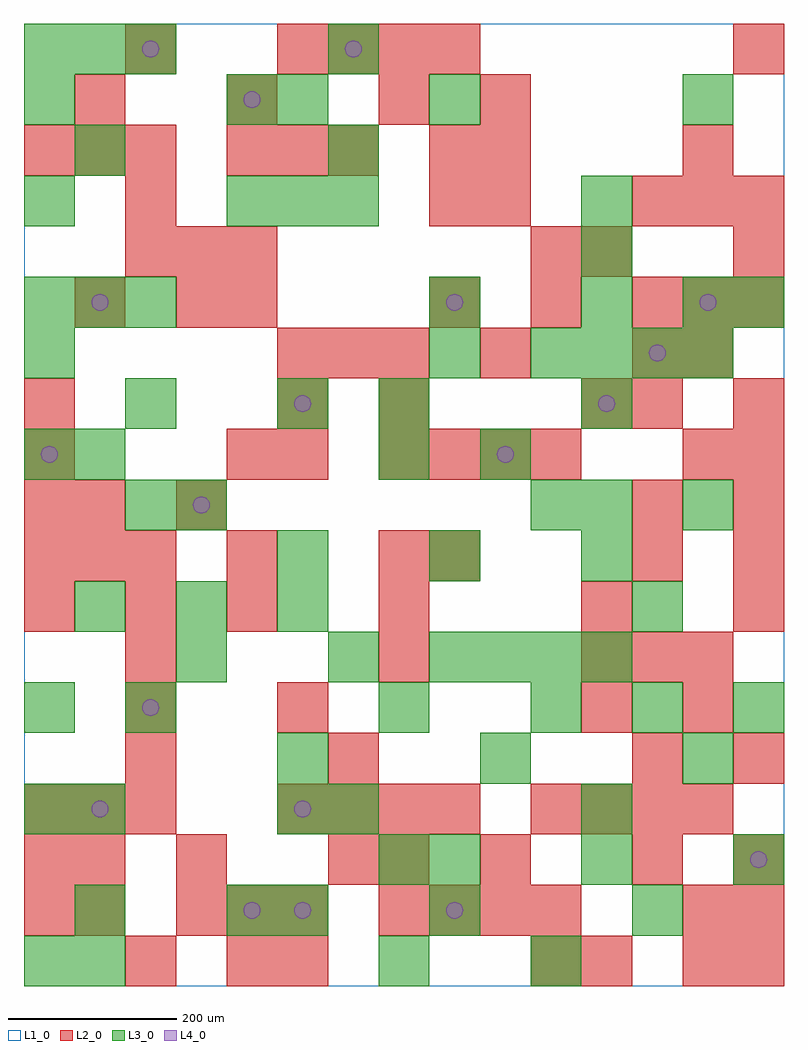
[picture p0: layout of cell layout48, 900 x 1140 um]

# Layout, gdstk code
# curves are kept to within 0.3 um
import gdstk
lib = gdstk.Library(unit=1e-6, precision=1e-09)
def R(c, l, rs):  # rectangles x0, y0, x1, y1
    for r in rs: c.add(gdstk.rectangle(r[:2], r[2:], *l))
def A(c, l, x, y, w, h, nx, ny, dx, dy):  # array of equal rectangles
    R(c, l, [(x+i*dx, y+j*dy, x+i*dx+w, y+j*dy+h) for i in range(nx) for j in range(ny)])
def P(c, l, *ps):  # polygons
    for p in ps: c.add(gdstk.Polygon(p, *l))
L1_0 = (1, 0)
L2_0 = (2, 0)
L3_0 = (3, 0)
L4_0 = (4, 0)

layout48 = lib.new_cell('layout48')
R(layout48, L1_0, [(0,0,900,1140)])
A(layout48, L2_0, 300, 0, 60, 60, 1, 3, 0, 300)
A(layout48, L2_0, 840, 0, 60, 60, 1, 3, 0, 60)
A(layout48, L2_0, 180, 60, 60, 60, 3, 1, 60, 0)
A(layout48, L2_0, 420, 60, 60, 60, 4, 2, 60, 540)
A(layout48, L2_0, 0, 180, 60, 60, 3, 2, 60, 300)
A(layout48, L2_0, 300, 180, 60, 60, 4, 2, 60, 900)
A(layout48, L2_0, 600, 180, 60, 60, 4, 1, 60, 0)
A(layout48, L2_0, 120, 240, 60, 60, 1, 3, 0, 60)
A(layout48, L2_0, 420, 360, 60, 60, 1, 3, 0, 60)
A(layout48, L2_0, 660, 360, 60, 60, 3, 1, 60, 0)
A(layout48, L2_0, 0, 420, 60, 60, 3, 1, 120, 0)
A(layout48, L2_0, 840, 420, 60, 60, 1, 5, 0, 60)
A(layout48, L2_0, 0, 540, 60, 60, 1, 3, 0, 60)
A(layout48, L2_0, 300, 720, 60, 60, 3, 1, 60, 0)
A(layout48, L2_0, 480, 780, 60, 60, 3, 1, 120, 0)
A(layout48, L2_0, 120, 840, 60, 60, 3, 1, 60, 0)
A(layout48, L2_0, 540, 900, 60, 60, 1, 3, 0, 60)
A(layout48, L2_0, 720, 900, 60, 60, 3, 1, 60, 0)
A(layout48, L2_0, 0, 960, 60, 60, 3, 1, 60, 0)
A(layout48, L2_0, 240, 960, 60, 60, 3, 1, 60, 0)
A(layout48, L2_0, 60, 1020, 60, 60, 3, 1, 180, 0)
R(layout48, L2_0, [(120,0,180,60), (240,0,300,60), (600,0,660,60), (660,0,720,60), (780,0,840,60), (0,60,60,120), (60,60,120,120), (780,60,840,120), (0,120,60,180), (60,120,120,180), (180,120,240,180), (360,120,420,180), (420,120,480,180), (540,120,600,180), (720,120,780,180), (360,240,420,300), (720,240,780,300), (840,240,900,300), (660,300,720,360), (780,300,840,360), (660,420,720,480), (240,480,300,540), (480,480,540,540), (720,480,780,540), (60,540,120,600), (180,540,240,600), (720,540,780,600), (240,600,300,660), (780,600,840,660), (300,660,360,720), (420,660,480,720), (660,660,720,720), (720,660,780,720), (540,720,600,780), (720,720,780,780), (780,720,840,780), (60,780,120,840), (180,780,240,840), (240,780,300,840), (780,780,840,840), (840,780,900,840), (600,840,660,900), (660,840,720,900), (840,840,900,900), (120,900,180,960), (480,900,540,960), (480,960,540,1020), (780,960,840,1020), (120,1080,180,1140), (840,1080,900,1140)])
A(layout48, L3_0, 480, 120, 60, 60, 3, 1, 180, 0)
A(layout48, L3_0, 300, 240, 60, 60, 3, 1, 240, 0)
A(layout48, L3_0, 600, 300, 60, 60, 3, 1, 120, 0)
A(layout48, L3_0, 480, 360, 60, 60, 4, 1, 60, 0)
A(layout48, L3_0, 60, 420, 60, 60, 3, 1, 120, 0)
A(layout48, L3_0, 300, 480, 60, 60, 3, 1, 180, 0)
A(layout48, L3_0, 660, 540, 60, 60, 1, 3, 0, 120)
A(layout48, L3_0, 780, 540, 60, 60, 1, 3, 0, 240)
A(layout48, L3_0, 600, 720, 60, 60, 4, 1, 60, 0)
A(layout48, L3_0, 0, 780, 60, 60, 3, 2, 60, 300)
A(layout48, L3_0, 240, 900, 60, 60, 3, 1, 60, 0)
R(layout48, L3_0, [(0,0,60,60), (60,0,120,60), (420,0,480,60), (600,0,660,60), (60,60,120,120), (240,60,300,120), (300,60,360,120), (480,60,540,120), (720,60,780,120), (420,120,480,180), (0,180,60,240), (60,180,120,240), (300,180,360,240), (360,180,420,240), (660,180,720,240), (0,300,60,360), (120,300,180,360), (420,300,480,360), (180,360,240,420), (360,360,420,420), (720,420,780,480), (120,540,180,600), (180,540,240,600), (600,540,660,600), (0,600,60,660), (60,600,120,660), (420,600,480,660), (540,600,600,660), (120,660,180,720), (300,660,360,720), (420,660,480,720), (0,720,60,780), (480,720,540,780), (480,780,540,840), (840,780,900,840), (660,840,720,900), (0,900,60,960), (660,900,720,960), (60,960,120,1020), (360,960,420,1020), (0,1020,60,1080), (240,1020,300,1080), (300,1020,360,1080), (480,1020,540,1080), (360,1080,420,1140)])
P(layout48, L4_0, [(40,630),(39.239,633.827),(37.071,637.071),(33.827,639.239),(30,640),(26.173,639.239),(22.929,637.071),(20.761,633.827),(20,630),(20.761,626.173),(22.929,622.929),(26.173,620.761),(30,620),(33.827,620.761),(37.071,622.929),(39.239,626.173)],
  [(100,210),(99.239,213.827),(97.071,217.071),(93.827,219.239),(90,220),(86.173,219.239),(82.929,217.071),(80.761,213.827),(80,210),(80.761,206.173),(82.929,202.929),(86.173,200.761),(90,200),(93.827,200.761),(97.071,202.929),(99.239,206.173)],
  [(100,810),(99.239,813.827),(97.071,817.071),(93.827,819.239),(90,820),(86.173,819.239),(82.929,817.071),(80.761,813.827),(80,810),(80.761,806.173),(82.929,802.929),(86.173,800.761),(90,800),(93.827,800.761),(97.071,802.929),(99.239,806.173)],
  [(160,330),(159.239,333.827),(157.071,337.071),(153.827,339.239),(150,340),(146.173,339.239),(142.929,337.071),(140.761,333.827),(140,330),(140.761,326.173),(142.929,322.929),(146.173,320.761),(150,320),(153.827,320.761),(157.071,322.929),(159.239,326.173)],
  [(160,1110),(159.239,1113.827),(157.071,1117.071),(153.827,1119.239),(150,1120),(146.173,1119.239),(142.929,1117.071),(140.761,1113.827),(140,1110),(140.761,1106.173),(142.929,1102.929),(146.173,1100.761),(150,1100),(153.827,1100.761),(157.071,1102.929),(159.239,1106.173)],
  [(220,570),(219.239,573.827),(217.071,577.071),(213.827,579.239),(210,580),(206.173,579.239),(202.929,577.071),(200.761,573.827),(200,570),(200.761,566.173),(202.929,562.929),(206.173,560.761),(210,560),(213.827,560.761),(217.071,562.929),(219.239,566.173)],
  [(280,90),(279.239,93.827),(277.071,97.071),(273.827,99.239),(270,100),(266.173,99.239),(262.929,97.071),(260.761,93.827),(260,90),(260.761,86.173),(262.929,82.929),(266.173,80.761),(270,80),(273.827,80.761),(277.071,82.929),(279.239,86.173)],
  [(280,1050),(279.239,1053.827),(277.071,1057.071),(273.827,1059.239),(270,1060),(266.173,1059.239),(262.929,1057.071),(260.761,1053.827),(260,1050),(260.761,1046.173),(262.929,1042.929),(266.173,1040.761),(270,1040),(273.827,1040.761),(277.071,1042.929),(279.239,1046.173)],
  [(340,90),(339.239,93.827),(337.071,97.071),(333.827,99.239),(330,100),(326.173,99.239),(322.929,97.071),(320.761,93.827),(320,90),(320.761,86.173),(322.929,82.929),(326.173,80.761),(330,80),(333.827,80.761),(337.071,82.929),(339.239,86.173)],
  [(340,210),(339.239,213.827),(337.071,217.071),(333.827,219.239),(330,220),(326.173,219.239),(322.929,217.071),(320.761,213.827),(320,210),(320.761,206.173),(322.929,202.929),(326.173,200.761),(330,200),(333.827,200.761),(337.071,202.929),(339.239,206.173)],
  [(340,690),(339.239,693.827),(337.071,697.071),(333.827,699.239),(330,700),(326.173,699.239),(322.929,697.071),(320.761,693.827),(320,690),(320.761,686.173),(322.929,682.929),(326.173,680.761),(330,680),(333.827,680.761),(337.071,682.929),(339.239,686.173)],
  [(400,1110),(399.239,1113.827),(397.071,1117.071),(393.827,1119.239),(390,1120),(386.173,1119.239),(382.929,1117.071),(380.761,1113.827),(380,1110),(380.761,1106.173),(382.929,1102.929),(386.173,1100.761),(390,1100),(393.827,1100.761),(397.071,1102.929),(399.239,1106.173)],
  [(520,90),(519.239,93.827),(517.071,97.071),(513.827,99.239),(510,100),(506.173,99.239),(502.929,97.071),(500.761,93.827),(500,90),(500.761,86.173),(502.929,82.929),(506.173,80.761),(510,80),(513.827,80.761),(517.071,82.929),(519.239,86.173)],
  [(520,810),(519.239,813.827),(517.071,817.071),(513.827,819.239),(510,820),(506.173,819.239),(502.929,817.071),(500.761,813.827),(500,810),(500.761,806.173),(502.929,802.929),(506.173,800.761),(510,800),(513.827,800.761),(517.071,802.929),(519.239,806.173)],
  [(580,630),(579.239,633.827),(577.071,637.071),(573.827,639.239),(570,640),(566.173,639.239),(562.929,637.071),(560.761,633.827),(560,630),(560.761,626.173),(562.929,622.929),(566.173,620.761),(570,620),(573.827,620.761),(577.071,622.929),(579.239,626.173)],
  [(700,690),(699.239,693.827),(697.071,697.071),(693.827,699.239),(690,700),(686.173,699.239),(682.929,697.071),(680.761,693.827),(680,690),(680.761,686.173),(682.929,682.929),(686.173,680.761),(690,680),(693.827,680.761),(697.071,682.929),(699.239,686.173)],
  [(760,750),(759.239,753.827),(757.071,757.071),(753.827,759.239),(750,760),(746.173,759.239),(742.929,757.071),(740.761,753.827),(740,750),(740.761,746.173),(742.929,742.929),(746.173,740.761),(750,740),(753.827,740.761),(757.071,742.929),(759.239,746.173)],
  [(820,810),(819.239,813.827),(817.071,817.071),(813.827,819.239),(810,820),(806.173,819.239),(802.929,817.071),(800.761,813.827),(800,810),(800.761,806.173),(802.929,802.929),(806.173,800.761),(810,800),(813.827,800.761),(817.071,802.929),(819.239,806.173)],
  [(880,150),(879.239,153.827),(877.071,157.071),(873.827,159.239),(870,160),(866.173,159.239),(862.929,157.071),(860.761,153.827),(860,150),(860.761,146.173),(862.929,142.929),(866.173,140.761),(870,140),(873.827,140.761),(877.071,142.929),(879.239,146.173)])

lib.write_gds('layout48.gds')
